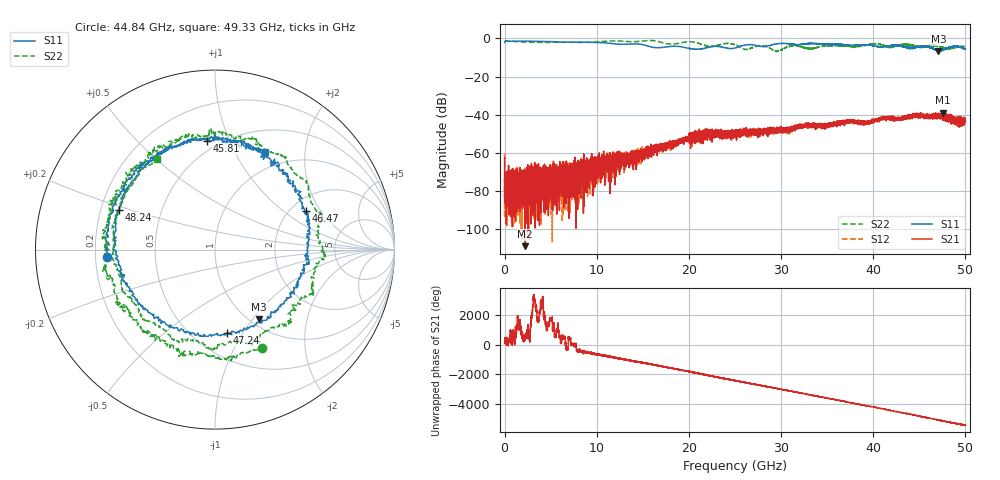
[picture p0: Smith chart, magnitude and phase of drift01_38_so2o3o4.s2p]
!Created with skrf (http://scikit-rf.org).
# Hz S RI R 50.0
!freq ReS11 ImS11 ReS21 ImS21 ReS12 ImS12 ReS22 ImS22
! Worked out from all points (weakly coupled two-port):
!   10001 points, 300 kHz to 50 GHz, reference 50 ohm
!   highest |S21| = -38.89 dB at 47.59 GHz (marker M1); lowest = -108.9 dB at 2.22 GHz (marker M2)
!   lowest |S11| = -6.7 dB at 47.07 GHz (marker M3), VSWR 2.71, Z = 54.8 - j54.1 ohm
!   |S11| at or under -10 dB: nowhere
!   |S22| runs from -6.8 to -1.0 dB; largest |S21 - S12| = 0.0038
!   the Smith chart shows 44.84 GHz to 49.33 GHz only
!   S11 on the Smith chart (normalised r, x): 44.84 GHz: 0.25, -0.03; 45.81 GHz: 0.43, +0.83; 46.47 GHz: 2.41, +1.47; 47.24 GHz: 0.71, -0.85; 48.24 GHz: 0.27, +0.18; 49.33 GHz: 0.77, +1.33
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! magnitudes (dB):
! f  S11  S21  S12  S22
! 300 kHz  -2.1  -62.4  -60.2  -1.3
! 255.3 MHz  -1.4  -84.2  -91.0  -1.4
! 2.22 GHz  -1.4  -108.9  -83.4  -1.9
! 4.07 GHz  -1.6  -76.5  -74.4  -2.1
! 8.335 GHz  -1.9  -68.0  -68.8  -2.1
! 16.67 GHz  -4.8  -57.6  -56.8  -1.6
! 21.91 GHz  -4.8  -48.5  -49.9  -3.9
! 25 GHz  -5.0  -49.5  -50.8  -3.4
! 28.09 GHz  -4.3  -49.6  -50.1  -3.8
! 29.52 GHz  -2.8  -48.4  -47.8  -6.8
! 31.27 GHz  -3.1  -48.7  -46.7  -4.0
! 33.34 GHz  -2.6  -45.4  -45.1  -5.4
! 41.67 GHz  -3.9  -41.8  -41.8  -4.6
! 44.84 GHz  -4.4  -40.1  -40.6  -4.3
! 45.81 GHz  -4.3  -41.4  -41.1  -4.2
! 46.47 GHz  -5.2  -40.4  -40.6  -3.6
! 47.07 GHz  -6.7  -40.5  -40.2  -4.2
! 47.24 GHz  -6.6  -40.0  -39.9  -4.4
! 47.59 GHz  -6.0  -38.9  -41.3  -4.8
! 48.24 GHz  -4.7  -43.0  -41.2  -5.5
! 49.33 GHz  -4.3  -43.5  -42.7  -4.4
! 50 GHz  -5.6  -43.2  -43.0  -4.2
